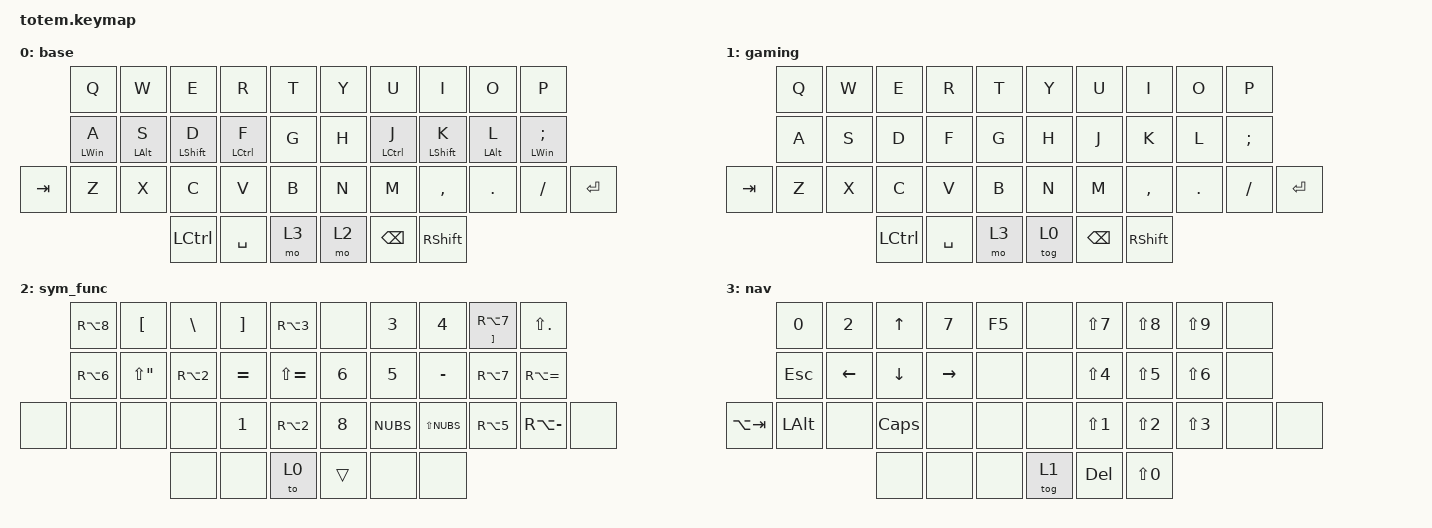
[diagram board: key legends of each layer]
//
//                                                        ▀▀▀▀▀     ▀▀▀▀▀          ▀▀█▀▀
//                                                        ▄▀▀▀▄  ▄  ▄▀▀▀▄  ▄  ▄▀▀▀▄  █  ▄▀▀▀▄
//                                                        █   █  █  █   █  █  █   █  █  █   █
//                                                         ▀▀▀   █   ▀▀▀   █   ▀▀▀   ▀   ▀▀▀
//                                                               █      ▄▄▄█▄▄▄    █   █  
//                                                               ▀      █  █  █     █▄█
//                                                             ▀▀▀▀▀    █  █  █      ▀
//                                                                      ▀  ▀  ▀
//
// ▄▄▄▄▄▄▄▄▄▄▄▄▄▄▄▄▄▄▄▄▄▄▄▄▄▄▄▄▄▄▄▄▄▄▄▄▄▄▄▄▄▄▄▄▄▄▄▄▄▄▄▄▄▄▄▄▄▄▄▄▄▄▄▄▄▄▄▄▄▄▄▄▄▄▄▄▄▄▄▄▄▄▄▄▄▄▄▄▄▄▄▄▄▄▄▄▄▄▄▄▄▄▄▄▄▄▄▄▄▄▄▄▄▄▄▄▄▄▄▄▄▄▄▄▄▄▄▄▄▄▄▄▄▄▄▄▄▄▄▄▄▄▄▄▄▄▄▄▄

#include <behaviors.dtsi>
#include <dt-bindings/zmk/keys.h>

&mmv { time-to-max-speed-ms = <900>; };

/ {
    behaviors {
        lp: Long-Press {
            compatible = "zmk,behavior-hold-tap";
            label = "Long Press";
            bindings = <&kp>, <&kp>;

            #binding-cells = <2>;
            tapping-term-ms = <350>;
            flavor = "tap-preferred";
        };
    };

    keymap {
        compatible = "zmk,keymap";

        base {
            bindings = <
         &kp Q           &kp W           &kp E             &kp R        &kp T    &kp Y  &kp U          &kp I             &kp O           &kp P
         &lp LEFT_WIN A  &lp LEFT_ALT S  &lp LEFT_SHIFT D  &lp LCTRL F  &kp G    &kp H  &lp LCTRL J    &lp LEFT_SHIFT K  &lp LEFT_ALT L  &lp LEFT_WIN SEMI
&kp TAB  &kp Z           &kp X           &kp C             &kp V        &kp B    &kp N  &kp M          &kp COMMA         &kp PERIOD      &kp SLASH          &kp ENTER
                                         &kp LEFT_CONTROL  &kp SPACE    &mo 3    &mo 2  &kp BACKSPACE  &kp RIGHT_SHIFT
            >;
        };

        gaming {
            bindings = <
         &kp Q  &kp W  &kp E             &kp R      &kp T    &kp Y   &kp U          &kp I            &kp O       &kp P
         &kp A  &kp S  &kp D             &kp F      &kp G    &kp H   &kp J          &kp K            &kp L       &kp SEMI
&kp TAB  &kp Z  &kp X  &kp C             &kp V      &kp B    &kp N   &kp M          &kp COMMA        &kp PERIOD  &kp SLASH  &kp ENTER
                       &kp LEFT_CONTROL  &kp SPACE  &mo 3    &tog 0  &kp BACKSPACE  &kp RIGHT_SHIFT
            >;
        };

        sym_func {
            bindings = <
       &kp RA(NUMBER_8)  &kp LEFT_BRACKET       &kp BACKSLASH     &kp RIGHT_BRACKET  &kp RA(NUMBER_3)    &none         &kp NUMBER_3  &kp NUMBER_4  &lp RIGHT_BRACKET RA(NUMBER_7)  &kp LS(PERIOD)
       &kp RA(NUMBER_6)  &kp LS(DOUBLE_QUOTES)  &kp RA(NUMBER_2)  &kp EQUAL          &kp LS(EQUAL)       &kp NUMBER_6  &kp NUMBER_5  &kp MINUS     &kp RA(NUMBER_7)                &kp RA(EQUAL)
&none  &none             &none                  &none             &kp NUMBER_1       &kp RA(NUMBER_2)    &kp NUMBER_8  &kp NUBS      &kp LS(NUBS)  &kp RA(NUMBER_5)                &kp RA(MINUS)   &none
                                                &none             &none              &to 0               &trans        &none         &none
            >;
        };

        nav {
            bindings = <
             &kp NUMBER_0  &kp NUMBER_2  &kp UP_ARROW  &kp NUMBER_7  &kp F5    &none   &kp LS(NUMBER_7)  &kp LS(NUMBER_8)  &kp LS(NUMBER_9)  &none
             &kp ESCAPE    &kp LEFT      &kp DOWN      &kp RIGHT     &none     &none   &kp LS(NUMBER_4)  &kp LS(NUMBER_5)  &kp LS(NUMBER_6)  &none
&kp LA(TAB)  &kp LEFT_ALT  &none         &kp CAPS      &none         &none     &none   &kp LS(NUMBER_1)  &kp LS(NUMBER_2)  &kp LS(NUMBER_3)  &none  &none
                                         &none         &none         &none     &tog 1  &kp DELETE        &kp LS(NUMBER_0)
            >;
        };
    };

    conditional_layers { compatible = "zmk,conditional-layers"; };
};
